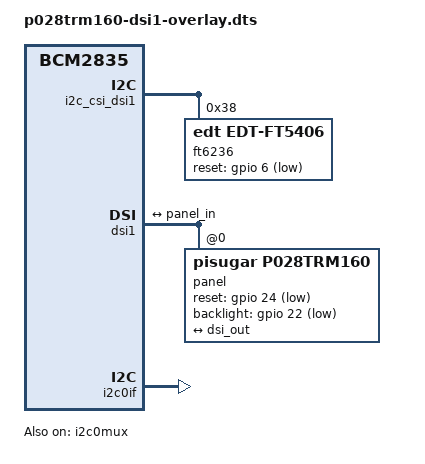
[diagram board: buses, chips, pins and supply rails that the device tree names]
/*
 * Device Tree Overlay for P028TRM160-IPS-CTP 2.8" 480x640 DSI Panel
 * with ST7701S controller and touch controller
 *
 * Connected to DSI1 on Raspberry Pi CM5
 *
 * GPIO Mapping (40-pin header):
 *   LEDC  (Backlight)  : GPIO22 (Pin 15)
 *   RST   (Panel Reset): GPIO24 (Pin 18)
 *   TPRST (Touch Reset): GPIO6  (Pin 31)
 *   TPINT (Touch INT)  : GPIO13 (Pin 33)
 */

/dts-v1/;
/plugin/;

/ {
	compatible = "brcm,bcm2835";

	/* Fragment 0: Touch screen on DSI1-associated I2C bus */
	fragment@0 {
		target = <&i2c_csi_dsi1>;
		i2c_frag: __overlay__ {
			#address-cells = <1>;
			#size-cells = <0>;
			status = "okay";

			ft6236: ft6236@38 {
				compatible = "edt,edt-ft5406";
				reg = <0x38>;
				/* No interrupt-parent/interrupts — driver will use polling mode */
				reset-gpios = <&gpio 6 1>; /* GPIO6, active low */
				/* FT6336U reports coords in 240x320; display server scales to 480x640 */
				touchscreen-size-x = <240>;
				touchscreen-size-y = <320>;
			};
		};
	};

	/* Fragment 1: DSI1 panel */
	fragment@1 {
		target = <&dsi1>;
		dsi_frag: __overlay__ {
			#address-cells = <1>;
			#size-cells = <0>;
			status = "okay";

			port {
				dsi_out: endpoint {
					remote-endpoint = <&panel_in>;
				};
			};

			panel: panel@0 {
				compatible = "pisugar,p028trm160";
				reg = <0>;

				reset-gpios = <&gpio 24 1>; /* GPIO24, active low */
				backlight-gpios = <&gpio 22 1>; /* GPIO22, active low */

				dsi-lanes = <1>;

				port {
					panel_in: endpoint {
						remote-endpoint = <&dsi_out>;
					};
				};
			};
		};
	};

	/* Fragment 2: Enable I2C0 interface */
	fragment@2 {
		target = <&i2c0if>;
		__overlay__ {
			status = "okay";
		};
	};

	/* Fragment 3: Enable I2C0 mux */
	fragment@3 {
		target = <&i2c0mux>;
		__overlay__ {
			status = "okay";
		};
	};

	__overrides__ {
		sizex = <&ft6236>, "touchscreen-size-x:0";
		sizey = <&ft6236>, "touchscreen-size-y:0";
		disable_touch = <&ft6236>, "status=disabled";
		lanes = <&panel>, "dsi-lanes:0";
	};
};
